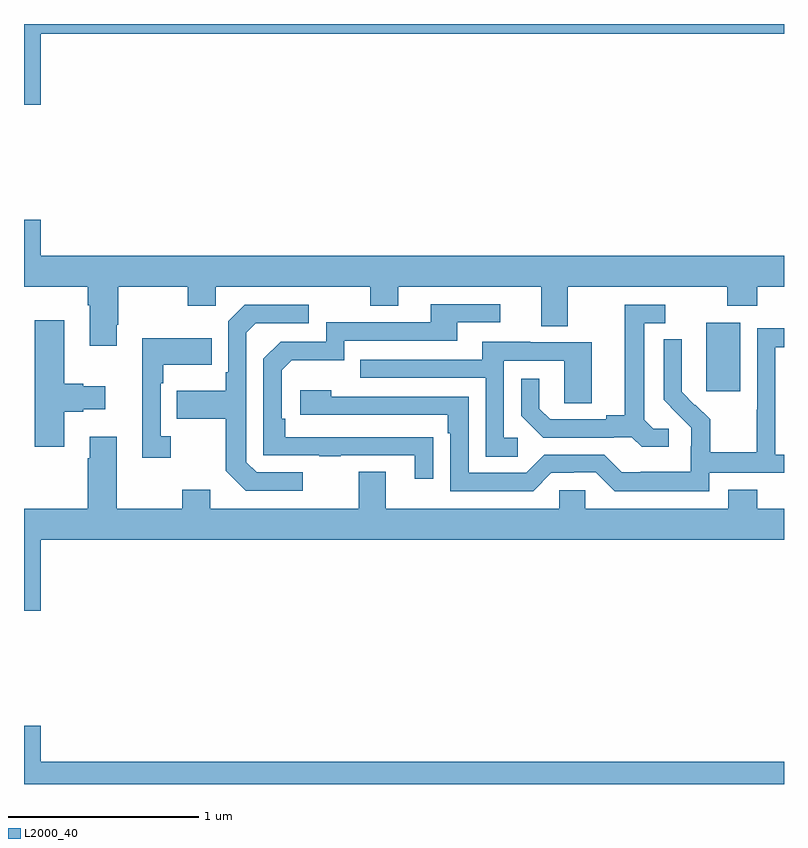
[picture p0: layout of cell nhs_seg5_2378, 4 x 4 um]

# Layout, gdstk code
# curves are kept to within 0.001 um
import gdstk
lib = gdstk.Library(unit=1e-6, precision=1e-09)
def R(c, l, rs):  # rectangles x0, y0, x1, y1
    for r in rs: c.add(gdstk.rectangle(r[:2], r[2:], *l))
def P(c, l, *ps):  # polygons
    for p in ps: c.add(gdstk.Polygon(p, *l))
L2000_40 = (2000, 40)

nhs_seg5_2378 = lib.new_cell('nhs_seg5_2378')
R(nhs_seg5_2378, L2000_40, [(252.59,866.865,252.769,867.226)])
P(nhs_seg5_2378, L2000_40, [(249.088,868.748),(253,868.748),(253,868.799),(249,868.799),(249,868.374),(249.088,868.374)],
  [(249.487,867.217),(249.495,867.217),(249.495,867.416),(249.862,867.416),(249.862,867.317),(250.008,867.317),(250.008,867.416),(250.822,867.416),(250.822,867.317),(250.969,867.317),(250.969,867.416),(251.723,867.416),(251.723,867.208),(251.863,867.208),(251.863,867.416),(252.7,867.416),(252.7,867.317),(252.86,867.317),(252.86,867.416),(253,867.416),(253,867.58),(249.088,867.58),(249.088,867.769),(249,867.769),(249,867.416),(249.335,867.416),(249.335,867.32),(249.347,867.32),(249.347,867.105),(249.487,867.105)],
  [(251.153,866.624),(250.376,866.625),(250.376,866.722),(250.356,866.722),(250.356,866.976),(250.409,867.029),(250.686,867.029),(250.686,867.132),(251.281,867.132),(251.281,867.228),(251.506,867.228),(251.506,867.324),(251.141,867.324),(251.141,867.228),(250.59,867.228),(250.59,867.126),(250.35,867.126),(250.26,867.036),(250.26,866.529),(250.555,866.529),(250.555,866.524),(250.667,866.524),(250.667,866.529),(251.057,866.529),(251.057,866.406),(251.153,866.406)],
  [(252.394,866.67),(252.312,866.67),(252.265,866.717),(252.265,867.225),(252.376,867.225),(252.376,867.321),(252.161,867.321),(252.161,866.741),(252.065,866.741),(252.065,866.718),(251.77,866.718),(251.713,866.775),(251.713,866.932),(251.616,866.932),(251.616,866.738),(251.732,866.622),(252.104,866.622),(252.104,866.625),(252.198,866.625),(252.25,866.573),(252.394,866.573)],
  [(250.468,866.439),(250.224,866.439),(250.17,866.493),(250.17,867.174),(250.221,867.225),(250.498,867.225),(250.498,867.321),(250.161,867.321),(250.074,867.234),(250.074,866.965),(250.062,866.965),(250.062,866.869),(249.805,866.869),(249.805,866.722),(250.062,866.722),(250.062,866.449),(250.167,866.343),(250.468,866.343)],
  [(249.211,866.759),(249.311,866.759),(249.311,866.771),(249.427,866.771),(249.427,866.893),(249.311,866.893),(249.311,866.906),(249.211,866.906),(249.211,867.241),(249.056,867.241),(249.056,866.574),(249.211,866.574)],
  [(252.606,866.436),(253,866.436),(253,866.532),(252.954,866.532),(252.954,867.099),(253,867.099),(253,867.198),(252.858,867.198),(252.858,866.768),(252.856,866.768),(252.856,866.545),(252.611,866.545),(252.611,866.719),(252.534,866.796),(252.531,866.793),(252.461,866.864),(252.462,867.14),(252.366,867.14),(252.366,866.822),(252.512,866.674),(252.512,866.577),(252.51,866.577),(252.51,866.443),(252.247,866.443),(252.247,866.439),(252.147,866.439),(252.054,866.532),(251.739,866.532),(251.643,866.436),(251.34,866.436),(251.34,866.838),(250.616,866.838),(250.616,866.872),(250.455,866.872),(250.455,866.742),(251.231,866.742),(251.231,866.645),(251.244,866.645),(251.244,866.34),(251.679,866.34),(251.775,866.436),(251.894,866.436),(251.894,866.439),(252.009,866.439),(252.109,866.339),(252.606,866.339)],
  [(249.772,866.63),(249.72,866.63),(249.72,866.909),(249.733,866.909),(249.733,867.005),(249.989,867.005),(249.989,867.145),(249.623,867.145),(249.623,866.517),(249.772,866.517)],
  [(251.599,866.622),(251.526,866.622),(251.526,867.027),(251.844,867.027),(251.844,866.803),(251.989,866.803),(251.989,867.123),(251.665,867.123),(251.665,867.127),(251.411,867.127),(251.411,867.033),(250.771,867.033),(250.771,866.937),(251.43,866.937),(251.43,866.521),(251.599,866.521)],
  [(249.088,866.084),(253,866.084),(253,866.248),(252.86,866.248),(252.86,866.347),(252.707,866.347),(252.707,866.248),(251.955,866.248),(251.955,866.346),(251.817,866.346),(251.817,866.248),(250.903,866.248),(250.903,866.443),(250.763,866.443),(250.763,866.248),(249.979,866.248),(249.979,866.347),(249.832,866.347),(249.832,866.248),(249.487,866.248),(249.487,866.626),(249.347,866.626),(249.347,866.513),(249.335,866.513),(249.335,866.248),(249,866.248),(249,865.71),(249.088,865.71)],
  [(253,864.916),(249.088,864.916),(249.088,865.105),(249,865.105),(249,864.799),(253,864.799)])

lib.write_gds('nhs_seg5_2378.gds')
